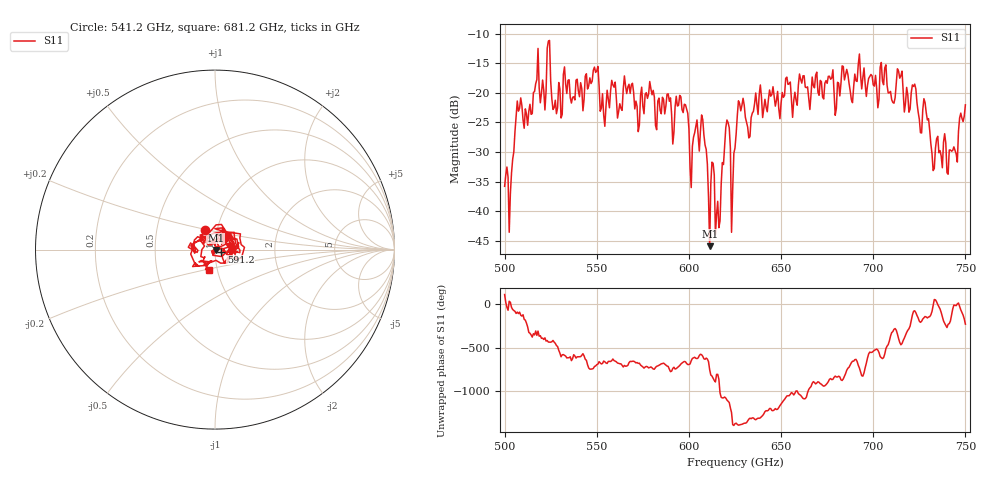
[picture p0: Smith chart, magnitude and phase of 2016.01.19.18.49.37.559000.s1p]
!Created with skrf (http://scikit-rf.org).
# GHz S RI R 50.0
!freq ReS11 ImS11
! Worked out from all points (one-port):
!   401 points, 500 GHz to 750 GHz, reference 50 ohm
!   lowest |S11| = -45.9 dB at 611.2 GHz (marker M1), VSWR 1.01, Z = 50.4 - j0.267 ohm
!   |S11| at or under -10 dB: start of sweep to end of sweep
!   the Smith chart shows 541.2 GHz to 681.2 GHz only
!   S11 on the Smith chart (normalised r, x): 541.2 GHz: 0.87, +0.19; 591.2 GHz: 1.07, -0.02; 681.2 GHz: 0.91, -0.21
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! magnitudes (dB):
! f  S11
! 500 GHz  -35.8
! 503.8 GHz  -33.6
! 507.5 GHz  -23.1
! 516.9 GHz  -18.5
! 531.2 GHz  -23.7
! 541.2 GHz  -18.3
! 549.4 GHz  -16.6
! 553.1 GHz  -20.2
! 558.8 GHz  -18.7
! 562.5 GHz  -21.9
! 566.2 GHz  -20.1
! 591.2 GHz  -28.7
! 593.8 GHz  -22.2
! 601.2 GHz  -36.0
! 607.5 GHz  -24.5
! 611.2 GHz  -45.9
! 615.6 GHz  -38.3
! 620.6 GHz  -24.6
! 623.8 GHz  -36.3
! 625 GHz  -29.3
! 628.1 GHz  -23.1
! 656.2 GHz  -24.2
! 681.2 GHz  -18.4
! 687.5 GHz  -19.7
! 714.4 GHz  -17.5
! 718.8 GHz  -20.4
! 741.2 GHz  -29.7
! 750 GHz  -22.0
